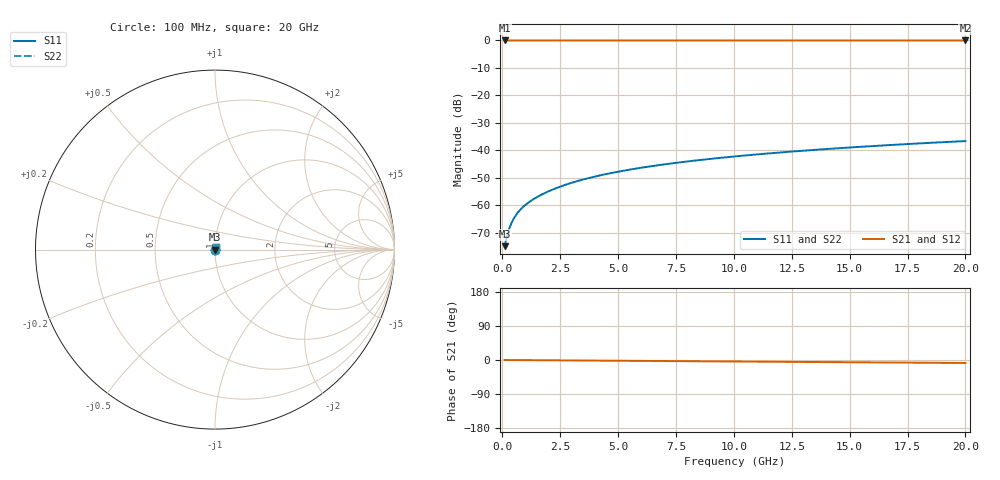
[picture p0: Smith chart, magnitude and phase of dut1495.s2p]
! Touchstone file exported from HFSS 2026.1.0
!  File:  C:/ffzhzh/LocalFiles/Ansys_Project_Files/temp_train_TSV_1495_1783198896_55132.aedt
!  Generated:  05:03:09 AM Jul  5, 2026
!  Design:  TSV
!  Project:  temp_train_TSV_1495_1783198896_55132
! Variables:
!  h_bsmrdl = 2um
!  h_ox = 20um
!  h_rdl = 5um
!  h_sub = 77.82um
!  h_tmrdl = 5um
!  h_tsv = 77.82um
!  h_via = 3um
!  l_bsmrdl = 300um
!  l_sub = 418.52um
!  l_tmrdl = 200um
!  m_sub = 200um
!  pitch = 42.32um
!  r_tsv = 9.26um
!  s_tmrdl = 10um
!  w_bsmrdl = 18um
!  w_sub = 500um
!  w_tmrdl = 12um
!  x_tsv_center1 = 206um
!  x_tsv_center2 = 524um
!  x_tsv_center3 = 736um
!  x_tsv_center4 = 1054um
!  x_tsv_center5 = 1266um
!  x_tsv_center6 = 1584um
# GHz S MA R 50.000000
! Terminal data exported
! Port[1] = TSV1_1_T1
! Port[2] = TSV1_1_T2
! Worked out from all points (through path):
!   200 points, 100 MHz to 20 GHz, reference 50 ohm
!   highest |S21| = 0.00 dB at 100 MHz (marker M1); lowest = 0.0 dB at 20 GHz (marker M2)
!   group delay of S21, straight-line fit = 1.09 ps
!   lowest |S11| = -74.8 dB at 100 MHz (marker M3), VSWR 1.00, Z = 50 + j0.0116 ohm
!   |S11| at or under -10 dB: start of sweep to end of sweep
!   |S22| runs from -74.8 to -36.6 dB; largest |S21 - S12| = 3.1e-15
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0.1  0.0001823 39.7  0.9999 -0.0  0.9999 -0.0  0.0001823 39.7
! Gamma 0 0 0 0
! Port Impedance 50 0 50 0
0.2  0.0002756 56.6  0.9998 -0.1  0.9998 -0.1  0.0002756 56.6
0.3  0.0003792 63.5  0.9998 -0.1  0.9998 -0.1  0.0003792 63.5
0.4  0.0004825 66.7  0.9998 -0.2  0.9998 -0.2  0.0004825 66.7
0.5  0.0005822 68.5  0.9998 -0.2  0.9998 -0.2  0.0005822 68.5
0.6  0.0006777 69.5  0.9998 -0.2  0.9998 -0.2  0.0006777 69.5
0.7  0.0007693 70.2  0.9997 -0.3  0.9997 -0.3  0.0007693 70.2
0.8  0.0008574 70.8  0.9997 -0.3  0.9997 -0.3  0.0008574 70.8
1  0.001026 71.7  0.9997 -0.4  0.9997 -0.4  0.001026 71.7
1.4  0.001346 73.4  0.9996 -0.6  0.9996 -0.6  0.001346 73.4
1.7  0.001581 74.5  0.9996 -0.7  0.9996 -0.7  0.001581 74.5
2  0.001815 75.4  0.9996 -0.8  0.9996 -0.8  0.001815 75.4
2.7  0.002358 76.9  0.9995 -1.1  0.9995 -1.1  0.002358 76.9
3.5  0.002975 77.9  0.9994 -1.4  0.9994 -1.4  0.002975 77.9
4.2  0.003509 78.4  0.9994 -1.7  0.9994 -1.7  0.003509 78.4
5  0.004113 78.8  0.9993 -2.0  0.9993 -2.0  0.004113 78.8
6.8  0.005447 79.1  0.9992 -2.7  0.9992 -2.7  0.005447 79.1
8.3  0.006541 79.2  0.9991 -3.3  0.9991 -3.3  0.006541 79.2
10.1  0.007841 79.1  0.999 -4.0  0.999 -4.0  0.007841 79.1
13.4  0.0102 78.6  0.9989 -5.3  0.9989 -5.3  0.0102 78.6
16.7  0.01253 77.9  0.9987 -6.6  0.9987 -6.6  0.01253 77.9
20  0.01483 77.0  0.9986 -7.9  0.9986 -7.9  0.01483 77.0
